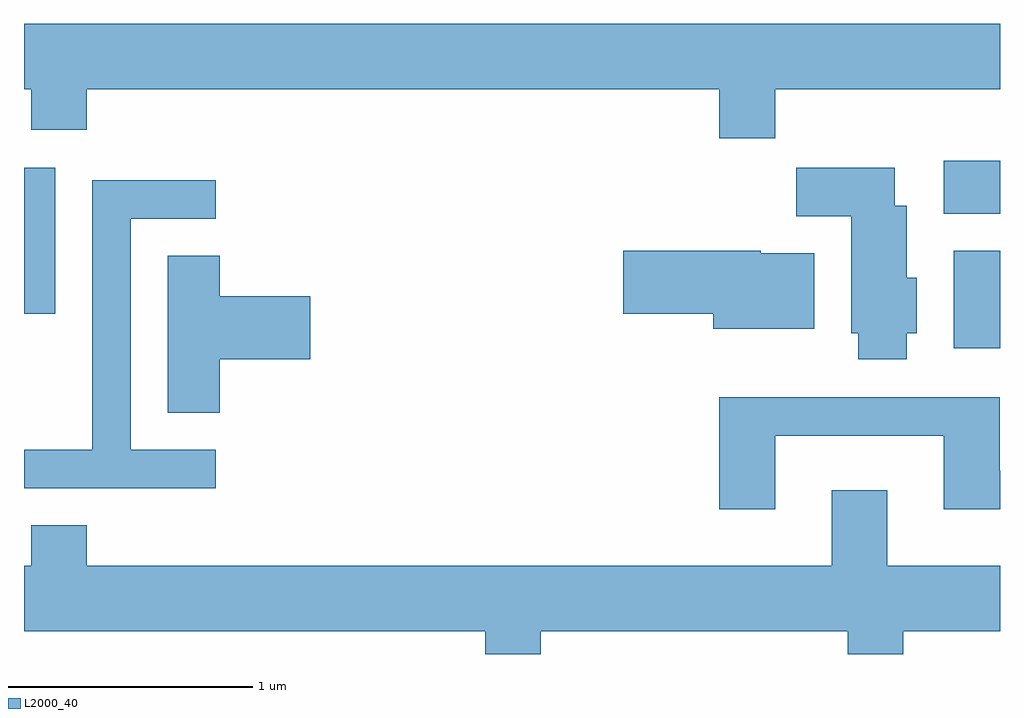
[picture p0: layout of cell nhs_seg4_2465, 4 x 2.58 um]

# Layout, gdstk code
import gdstk
lib = gdstk.Library(unit=1e-6, precision=1e-09)
def R(c, l, rs):  # rectangles x0, y0, x1, y1
    for r in rs: c.add(gdstk.rectangle(r[:2], r[2:], *l))
def P(c, l, *ps):  # polygons
    for p in ps: c.add(gdstk.Polygon(p, *l))
L2000_40 = (2000, 40)

nhs_seg4_2465 = lib.new_cell('nhs_seg4_2465')
R(nhs_seg4_2465, L2000_40, [(261.421,1289.236,261.611,1289.634), (257.611,1289.376,257.739,1289.974), (261.381,1289.786,261.611,1290.004)])
P(nhs_seg4_2465, L2000_40, [(260.689,1290.296),(261.611,1290.296),(261.611,1290.564),(257.611,1290.564),(257.611,1290.296),(257.641,1290.296),(257.641,1290.131),(257.869,1290.131),(257.869,1290.296),(260.461,1290.296),(260.461,1290.096),(260.689,1290.096)],
  [(261.229,1289.296),(261.269,1289.296),(261.269,1289.524),(261.229,1289.524),(261.229,1289.819),(261.179,1289.819),(261.179,1289.974),(260.776,1289.974),(260.776,1289.776),(261.001,1289.776),(261.001,1289.296),(261.031,1289.296),(261.031,1289.191),(261.229,1289.191)],
  [(258.397,1288.819),(258.049,1288.819),(258.049,1289.766),(258.397,1289.766),(258.397,1289.924),(257.891,1289.924),(257.891,1288.819),(257.611,1288.819),(257.611,1288.661),(258.397,1288.661)],
  [(260.849,1289.624),(260.63,1289.624),(260.63,1289.634),(260.066,1289.634),(260.066,1289.376),(260.436,1289.376),(260.436,1289.316),(260.849,1289.316)],
  [(258.414,1289.191),(258.784,1289.191),(258.784,1289.449),(258.414,1289.449),(258.414,1289.614),(258.201,1289.614),(258.201,1288.971),(258.414,1288.971)],
  [(260.689,1288.876),(261.381,1288.876),(261.381,1288.576),(261.611,1288.576),(261.611,1288.734),(261.609,1288.734),(261.609,1289.034),(260.461,1289.034),(260.461,1288.576),(260.689,1288.576)],
  [(259.729,1288.076),(260.986,1288.076),(260.986,1287.982),(261.214,1287.982),(261.214,1288.076),(261.611,1288.076),(261.611,1288.344),(261.149,1288.344),(261.149,1288.654),(260.921,1288.654),(260.921,1288.344),(257.869,1288.344),(257.869,1288.509),(257.641,1288.509),(257.641,1288.344),(257.611,1288.344),(257.611,1288.076),(259.501,1288.076),(259.501,1287.982),(259.729,1287.982)])

lib.write_gds('nhs_seg4_2465.gds')
